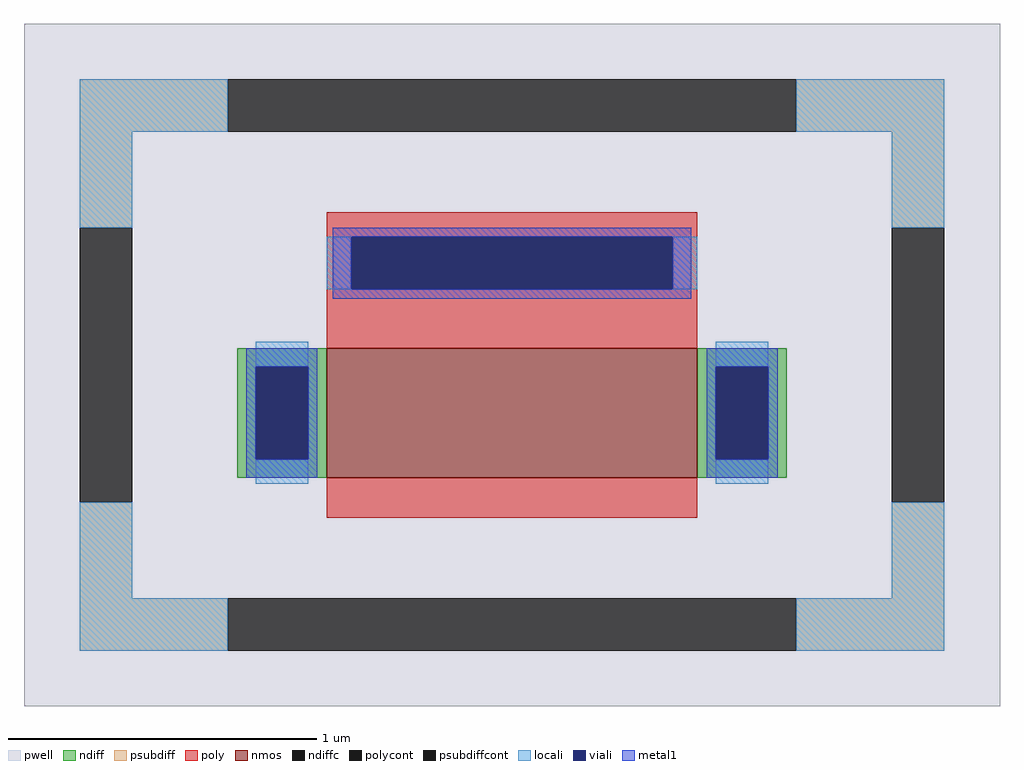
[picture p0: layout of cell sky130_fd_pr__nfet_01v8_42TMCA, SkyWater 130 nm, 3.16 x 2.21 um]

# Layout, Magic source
magic
tech sky130A
magscale 1 2
<< pwell >>
rect -316 -221 316 221
<< nmos >>
rect -120 -73 120 11
<< ndiff >>
rect -178 -1 -120 11
rect -178 -61 -166 -1
rect -132 -61 -120 -1
rect -178 -73 -120 -61
rect 120 -1 178 11
rect 120 -61 132 -1
rect 166 -61 178 -1
rect 120 -73 178 -61
<< ndiffc >>
rect -166 -61 -132 -1
rect 132 -61 166 -1
<< psubdiff >>
rect -280 151 -184 185
rect 184 151 280 185
rect -280 89 -246 151
rect 246 89 280 151
rect -280 -151 -246 -89
rect 246 -151 280 -89
rect -280 -185 -184 -151
rect 184 -185 280 -151
<< psubdiffcont >>
rect -184 151 184 185
rect -280 -89 -246 89
rect 246 -89 280 89
rect -184 -185 184 -151
<< poly >>
rect -120 83 120 99
rect -120 49 -104 83
rect 104 49 120 83
rect -120 11 120 49
rect -120 -99 120 -73
<< polycont >>
rect -104 49 104 83
<< locali >>
rect -280 151 -184 185
rect 184 151 280 185
rect -280 89 -246 151
rect 246 89 280 151
rect -120 49 -104 83
rect 104 49 120 83
rect -166 -1 -132 15
rect -166 -77 -132 -61
rect 132 -1 166 15
rect 132 -77 166 -61
rect -280 -151 -246 -89
rect 246 -151 280 -89
rect -280 -185 -184 -151
rect 184 -185 280 -151
<< viali >>
rect -104 49 104 83
rect -166 -61 -132 -1
rect 132 -61 166 -1
<< metal1 >>
rect -116 83 116 89
rect -116 49 -104 83
rect 104 49 116 83
rect -116 43 116 49
rect -172 -1 -126 11
rect -172 -61 -166 -1
rect -132 -61 -126 -1
rect -172 -73 -126 -61
rect 126 -1 172 11
rect 126 -61 132 -1
rect 166 -61 172 -1
rect 126 -73 172 -61
<< properties >>
string FIXED_BBOX -263 -168 263 168
string gencell sky130_fd_pr__nfet_01v8
string library sky130
string parameters w 0.42 l 1.2 m 1 nf 1 diffcov 100 polycov 100 guard 1 glc 1 grc 1 gtc 1 gbc 1 tbcov 100 rlcov 100 topc 1 botc 0 poverlap 0 doverlap 1 lmin 0.15 wmin 0.42 compatible {sky130_fd_pr__nfet_01v8 sky130_fd_pr__nfet_01v8_lvt  sky130_fd_bs_flash__special_sonosfet_star  sky130_fd_pr__nfet_g5v0d10v5 sky130_fd_pr__nfet_05v0_nvt  sky130_fd_pr__nfet_03v3_nvt} full_metal 1 viasrc 100 viadrn 100 viagate 100 viagb 0 viagr 0 viagl 0 viagt 0
<< end >>
